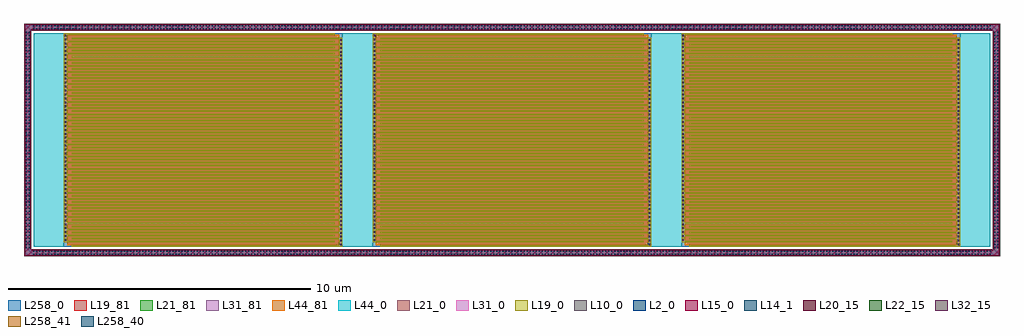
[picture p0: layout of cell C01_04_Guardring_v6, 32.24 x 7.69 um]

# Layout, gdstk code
from math import pi, radians
import gdstk
lib = gdstk.Library(unit=1e-6, precision=1e-09)
def R(c, l, rs):  # rectangles x0, y0, x1, y1
    for r in rs: c.add(gdstk.rectangle(r[:2], r[2:], *l))
def A(c, l, x, y, w, h, nx, ny, dx, dy):  # array of equal rectangles
    R(c, l, [(x+i*dx, y+j*dy, x+i*dx+w, y+j*dy+h) for i in range(nx) for j in range(ny)])
L2_0 = (2, 0)
L10_0 = (10, 0)
L14_1 = (14, 1)
L15_0 = (15, 0)
L19_0 = (19, 0)
L19_81 = (19, 81)
L20_15 = (20, 15)
L21_0 = (21, 0)
L21_81 = (21, 81)
L22_15 = (22, 15)
L31_0 = (31, 0)
L31_81 = (31, 81)
L32_15 = (32, 15)
L44_0 = (44, 0)
L44_81 = (44, 81)
L258_0 = (258, 0)
L258_40 = (258, 40)
L258_41 = (258, 41)

c01_04_guardring_v6_srf_ = lib.new_cell('C01_04_Guardring_v6:SRF_Array:SRF_HDVNCAP:SRF_FingerArray:SRF_FingerPair')
R(c01_04_guardring_v6_srf_, L19_0, [(0.1,-0.15,0.15,8.7), (0,0,0.05,8.85)])
R(c01_04_guardring_v6_srf_, L21_0, [(0.1,-0.15,0.15,8.7), (0,0,0.05,8.85)])
R(c01_04_guardring_v6_srf_, L31_0, [(0.1,-0.15,0.15,8.7), (0,0,0.05,8.85)])
R(c01_04_guardring_v6_srf_, L44_0, [(0.1,-0.15,0.15,8.7), (0,0,0.05,8.85)])

c_c01_04_guardring_v6_srf_ = lib.new_cell('C01_04_Guardring_v6:SRF_Array:SRF_HDVNCAP:SRF_FingerArray')
c_c01_04_guardring_v6_srf_.add(gdstk.Reference(c01_04_guardring_v6_srf_, (0,0)))
c_c01_04_guardring_v6_srf_.add(gdstk.Reference(c01_04_guardring_v6_srf_, (0.2,0)))
c_c01_04_guardring_v6_srf_.add(gdstk.Reference(c01_04_guardring_v6_srf_, (0.4,0)))
c_c01_04_guardring_v6_srf_.add(gdstk.Reference(c01_04_guardring_v6_srf_, (0.6,0)))
c_c01_04_guardring_v6_srf_.add(gdstk.Reference(c01_04_guardring_v6_srf_, (0.8,0)))
c_c01_04_guardring_v6_srf_.add(gdstk.Reference(c01_04_guardring_v6_srf_, (1,0)))
c_c01_04_guardring_v6_srf_.add(gdstk.Reference(c01_04_guardring_v6_srf_, (1.2,0)))
c_c01_04_guardring_v6_srf_.add(gdstk.Reference(c01_04_guardring_v6_srf_, (1.4,0)))
c_c01_04_guardring_v6_srf_.add(gdstk.Reference(c01_04_guardring_v6_srf_, (1.6,0)))
c_c01_04_guardring_v6_srf_.add(gdstk.Reference(c01_04_guardring_v6_srf_, (1.8,0)))
c_c01_04_guardring_v6_srf_.add(gdstk.Reference(c01_04_guardring_v6_srf_, (2,0)))
c_c01_04_guardring_v6_srf_.add(gdstk.Reference(c01_04_guardring_v6_srf_, (2.2,0)))
c_c01_04_guardring_v6_srf_.add(gdstk.Reference(c01_04_guardring_v6_srf_, (2.4,0)))
c_c01_04_guardring_v6_srf_.add(gdstk.Reference(c01_04_guardring_v6_srf_, (2.6,0)))
c_c01_04_guardring_v6_srf_.add(gdstk.Reference(c01_04_guardring_v6_srf_, (2.8,0)))
c_c01_04_guardring_v6_srf_.add(gdstk.Reference(c01_04_guardring_v6_srf_, (3,0)))
c_c01_04_guardring_v6_srf_.add(gdstk.Reference(c01_04_guardring_v6_srf_, (3.2,0)))
c_c01_04_guardring_v6_srf_.add(gdstk.Reference(c01_04_guardring_v6_srf_, (3.4,0)))
c_c01_04_guardring_v6_srf_.add(gdstk.Reference(c01_04_guardring_v6_srf_, (3.6,0)))
c_c01_04_guardring_v6_srf_.add(gdstk.Reference(c01_04_guardring_v6_srf_, (3.8,0)))
c_c01_04_guardring_v6_srf_.add(gdstk.Reference(c01_04_guardring_v6_srf_, (4,0)))
c_c01_04_guardring_v6_srf_.add(gdstk.Reference(c01_04_guardring_v6_srf_, (4.2,0)))
c_c01_04_guardring_v6_srf_.add(gdstk.Reference(c01_04_guardring_v6_srf_, (4.4,0)))
c_c01_04_guardring_v6_srf_.add(gdstk.Reference(c01_04_guardring_v6_srf_, (4.6,0)))
c_c01_04_guardring_v6_srf_.add(gdstk.Reference(c01_04_guardring_v6_srf_, (4.8,0)))
c_c01_04_guardring_v6_srf_.add(gdstk.Reference(c01_04_guardring_v6_srf_, (5,0)))
c_c01_04_guardring_v6_srf_.add(gdstk.Reference(c01_04_guardring_v6_srf_, (5.2,0)))
c_c01_04_guardring_v6_srf_.add(gdstk.Reference(c01_04_guardring_v6_srf_, (5.4,0)))
c_c01_04_guardring_v6_srf_.add(gdstk.Reference(c01_04_guardring_v6_srf_, (5.6,0)))
c_c01_04_guardring_v6_srf_.add(gdstk.Reference(c01_04_guardring_v6_srf_, (5.8,0)))
c_c01_04_guardring_v6_srf_.add(gdstk.Reference(c01_04_guardring_v6_srf_, (6,0)))
c_c01_04_guardring_v6_srf_.add(gdstk.Reference(c01_04_guardring_v6_srf_, (6.2,0)))
c_c01_04_guardring_v6_srf_.add(gdstk.Reference(c01_04_guardring_v6_srf_, (6.4,0)))
c_c01_04_guardring_v6_srf_.add(gdstk.Reference(c01_04_guardring_v6_srf_, (6.6,0)))

c_c01_04_guardring_v6_srf__ = lib.new_cell('C01_04_Guardring_v6:SRF_Array:SRF_HDVNCAP:SRF_Via0_PortA_Hrz:SRF_ViaM3M4')
R(c_c01_04_guardring_v6_srf__, L19_0, [(-0.032,0,6.842,0.05)])
A(c_c01_04_guardring_v6_srf__, L20_15, 0, 0, 0.05, 0.05, 53, 1, 0.13, 0)
R(c_c01_04_guardring_v6_srf__, L21_0, [(-0.032,0,6.842,0.05)])

c_c01_04_guardring_v6_srf___ = lib.new_cell('C01_04_Guardring_v6:SRF_Array:SRF_HDVNCAP:SRF_Via0_PortA_Hrz')
c_c01_04_guardring_v6_srf___.add(gdstk.Reference(c_c01_04_guardring_v6_srf__, (-3.405,-0.025)))

c_c01_04_guardring_v6_srf____ = lib.new_cell('C01_04_Guardring_v6:SRF_Array:SRF_HDVNCAP:SRF_Via1_PortA_Hrz:SRF_ViaM4M5')
R(c_c01_04_guardring_v6_srf____, L21_0, [(-0.032,0,6.842,0.05)])
A(c_c01_04_guardring_v6_srf____, L22_15, 0, 0, 0.05, 0.05, 53, 1, 0.13, 0)
R(c_c01_04_guardring_v6_srf____, L31_0, [(-0.032,0,6.842,0.05)])

c_c01_04_guardring_v6_srf_____ = lib.new_cell('C01_04_Guardring_v6:SRF_Array:SRF_HDVNCAP:SRF_Via1_PortA_Hrz')
c_c01_04_guardring_v6_srf_____.add(gdstk.Reference(c_c01_04_guardring_v6_srf____, (-3.405,-0.025)))

c_c01_04_guardring_v6_srf______ = lib.new_cell('C01_04_Guardring_v6:SRF_Array:SRF_HDVNCAP:SRF_Via2_PortA_Hrz:SRF_ViaM5M6')
R(c_c01_04_guardring_v6_srf______, L31_0, [(-0.032,0,6.842,0.05)])
A(c_c01_04_guardring_v6_srf______, L32_15, 0, 0, 0.05, 0.05, 53, 1, 0.13, 0)
R(c_c01_04_guardring_v6_srf______, L44_0, [(-0.032,0,6.842,0.05)])

c_c01_04_guardring_v6_srf_______ = lib.new_cell('C01_04_Guardring_v6:SRF_Array:SRF_HDVNCAP:SRF_Via2_PortA_Hrz')
c_c01_04_guardring_v6_srf_______.add(gdstk.Reference(c_c01_04_guardring_v6_srf______, (-3.405,-0.025)))

c_c01_04_guardring_v6_srf________ = lib.new_cell('C01_04_Guardring_v6:SRF_Array:SRF_HDVNCAP:SRF_Via0_PortB_Hrz:SRF_ViaM3M4')
R(c_c01_04_guardring_v6_srf________, L19_0, [(-0.032,0,6.842,0.05)])
A(c_c01_04_guardring_v6_srf________, L20_15, 0, 0, 0.05, 0.05, 53, 1, 0.13, 0)
R(c_c01_04_guardring_v6_srf________, L21_0, [(-0.032,0,6.842,0.05)])

c_c01_04_guardring_v6_srf_________ = lib.new_cell('C01_04_Guardring_v6:SRF_Array:SRF_HDVNCAP:SRF_Via0_PortB_Hrz')
c_c01_04_guardring_v6_srf_________.add(gdstk.Reference(c_c01_04_guardring_v6_srf________, (-3.405,-0.025)))

c_c01_04_guardring_v6_srf__________ = lib.new_cell('C01_04_Guardring_v6:SRF_Array:SRF_HDVNCAP:SRF_Via1_PortB_Hrz:SRF_ViaM4M5')
R(c_c01_04_guardring_v6_srf__________, L21_0, [(-0.032,0,6.842,0.05)])
A(c_c01_04_guardring_v6_srf__________, L22_15, 0, 0, 0.05, 0.05, 53, 1, 0.13, 0)
R(c_c01_04_guardring_v6_srf__________, L31_0, [(-0.032,0,6.842,0.05)])

c_c01_04_guardring_v6_srf___________ = lib.new_cell('C01_04_Guardring_v6:SRF_Array:SRF_HDVNCAP:SRF_Via1_PortB_Hrz')
c_c01_04_guardring_v6_srf___________.add(gdstk.Reference(c_c01_04_guardring_v6_srf__________, (-3.405,-0.025)))

c_c01_04_guardring_v6_srf____________ = lib.new_cell('C01_04_Guardring_v6:SRF_Array:SRF_HDVNCAP:SRF_Via2_PortB_Hrz:SRF_ViaM5M6')
R(c_c01_04_guardring_v6_srf____________, L31_0, [(-0.032,0,6.842,0.05)])
A(c_c01_04_guardring_v6_srf____________, L32_15, 0, 0, 0.05, 0.05, 53, 1, 0.13, 0)
R(c_c01_04_guardring_v6_srf____________, L44_0, [(-0.032,0,6.842,0.05)])

c_c01_04_guardring_v6_srf_____________ = lib.new_cell('C01_04_Guardring_v6:SRF_Array:SRF_HDVNCAP:SRF_Via2_PortB_Hrz')
c_c01_04_guardring_v6_srf_____________.add(gdstk.Reference(c_c01_04_guardring_v6_srf____________, (-3.405,-0.025)))

c_c01_04_guardring_v6_srf______________ = lib.new_cell('C01_04_Guardring_v6:SRF_Array:SRF_HDVNCAP')
R(c_c01_04_guardring_v6_srf______________, L19_0, [(-0.15,-0.25,6.75,-0.15), (-0.15,-0.25,-0.1,8.7), (6.85,0,6.9,8.95), (0,8.85,6.9,8.95)])
R(c_c01_04_guardring_v6_srf______________, L19_81, [(-0.1,-0.15,6.85,8.85)])
R(c_c01_04_guardring_v6_srf______________, L21_0, [(-0.15,-0.25,6.75,-0.15), (-0.15,-0.25,-0.1,8.7), (6.85,0,6.9,8.95), (0,8.85,6.9,8.95)])
R(c_c01_04_guardring_v6_srf______________, L21_81, [(-0.1,-0.15,6.85,8.85)])
R(c_c01_04_guardring_v6_srf______________, L31_0, [(-0.15,-0.25,6.75,-0.15), (-0.15,-0.25,-0.1,8.7), (6.85,0,6.9,8.95), (0,8.85,6.9,8.95)])
R(c_c01_04_guardring_v6_srf______________, L31_81, [(-0.1,-0.15,6.85,8.85)])
R(c_c01_04_guardring_v6_srf______________, L44_0, [(-0.15,-0.25,6.75,-0.15), (-0.15,-0.25,-0.1,8.7), (6.85,0,6.9,8.95), (0,8.85,6.9,8.95)])
R(c_c01_04_guardring_v6_srf______________, L44_81, [(-0.1,-0.15,6.85,8.85)])
R(c_c01_04_guardring_v6_srf______________, L258_0, [(-0.15,-0.25,6.9,8.95)])
A(c_c01_04_guardring_v6_srf______________, L258_40, -0.09, -0.15, 0.01, 0.01, 3, 1, 0.02, 0)
A(c_c01_04_guardring_v6_srf______________, L258_41, 6.77, 8.84, 0.01, 0.01, 4, 1, 0.02, 0)
c_c01_04_guardring_v6_srf______________.add(gdstk.Reference(c_c01_04_guardring_v6_srf_, (0,0)))
c_c01_04_guardring_v6_srf______________.add(gdstk.Reference(c_c01_04_guardring_v6_srf___, (3.45,8.9)))
c_c01_04_guardring_v6_srf______________.add(gdstk.Reference(c_c01_04_guardring_v6_srf_____, (3.45,8.9)))
c_c01_04_guardring_v6_srf______________.add(gdstk.Reference(c_c01_04_guardring_v6_srf_______, (3.45,8.9)))
c_c01_04_guardring_v6_srf______________.add(gdstk.Reference(c_c01_04_guardring_v6_srf_________, (3.3,-0.2)))
c_c01_04_guardring_v6_srf______________.add(gdstk.Reference(c_c01_04_guardring_v6_srf___________, (3.3,-0.2)))
c_c01_04_guardring_v6_srf______________.add(gdstk.Reference(c_c01_04_guardring_v6_srf_____________, (3.3,-0.2)))

c_c01_04_guardring_v6_srf_______________ = lib.new_cell('C01_04_Guardring_v6:SRF_Array')
A(c_c01_04_guardring_v6_srf_______________, L44_0, 0, 0, 1, 7.05, 4, 1, 10.2, 0)
c_c01_04_guardring_v6_srf_______________.add(gdstk.Reference(c_c01_04_guardring_v6_srf______________, (9.95,0.15), rotation=pi/2))
c_c01_04_guardring_v6_srf_______________.add(gdstk.Reference(c_c01_04_guardring_v6_srf______________, (20.15,0.15), rotation=pi/2))
c_c01_04_guardring_v6_srf_______________.add(gdstk.Reference(c_c01_04_guardring_v6_srf______________, (30.35,0.15), rotation=pi/2))

c01_04_guardring_v6__pbo = lib.new_cell('C01_04_Guardring_v6:_Pbodyring:SRF_PbodyTop:SRF_PbodyContactPhyLen')
R(c01_04_guardring_v6__pbo, L2_0, [(-0.08,-0.13,31.72,0.07)])
R(c01_04_guardring_v6__pbo, L10_0, [(-0.101,-0.151,31.741,0.091)])
A(c01_04_guardring_v6__pbo, L14_1, 0, -0.1, 0.04, 0.04, 317, 2, 0.1, 0.1)
R(c01_04_guardring_v6__pbo, L15_0, [(-0.08,-0.13,31.72,0.07)])

c_c01_04_guardring_v6__pbo = lib.new_cell('C01_04_Guardring_v6:_Pbodyring:SRF_PbodyTop')
c_c01_04_guardring_v6__pbo.add(gdstk.Reference(c01_04_guardring_v6__pbo, (0,0)))

c_c01_04_guardring_v6__pbo_ = lib.new_cell('C01_04_Guardring_v6:_Pbodyring:SRF_PbodyBottom:SRF_PbodyContactPhyLen')
R(c_c01_04_guardring_v6__pbo_, L2_0, [(-0.08,-0.13,31.72,0.07)])
R(c_c01_04_guardring_v6__pbo_, L10_0, [(-0.101,-0.151,31.741,0.091)])
A(c_c01_04_guardring_v6__pbo_, L14_1, 0, -0.1, 0.04, 0.04, 317, 2, 0.1, 0.1)
R(c_c01_04_guardring_v6__pbo_, L15_0, [(-0.08,-0.13,31.72,0.07)])

c_c01_04_guardring_v6__pbo__ = lib.new_cell('C01_04_Guardring_v6:_Pbodyring:SRF_PbodyBottom')
c_c01_04_guardring_v6__pbo__.add(gdstk.Reference(c_c01_04_guardring_v6__pbo_, (0,0)))

c_c01_04_guardring_v6__pbo___ = lib.new_cell('C01_04_Guardring_v6:_Pbodyring:SRF_PbodyLeft:SRF_PbodyContactPhyLen')
R(c_c01_04_guardring_v6__pbo___, L2_0, [(-0.03,-7.155,0.17,0.095)])
R(c_c01_04_guardring_v6__pbo___, L10_0, [(-0.051,-7.176,0.191,0.116)])
A(c_c01_04_guardring_v6__pbo___, L14_1, 0, -7.1, 0.04, 0.04, 1, 72, 0, 0.1)
A(c_c01_04_guardring_v6__pbo___, L14_1, 0.1, -7.1, 0.04, 0.04, 1, 72, 0, 0.1)
R(c_c01_04_guardring_v6__pbo___, L15_0, [(-0.03,-7.155,0.17,0.095)])

c_c01_04_guardring_v6__pbo____ = lib.new_cell('C01_04_Guardring_v6:_Pbodyring:SRF_PbodyLeft')
c_c01_04_guardring_v6__pbo____.add(gdstk.Reference(c_c01_04_guardring_v6__pbo___, (0,0)))

c_c01_04_guardring_v6__pbo_____ = lib.new_cell('C01_04_Guardring_v6:_Pbodyring:SRF_PbodyRight:SRF_PbodyContactPhyLen')
R(c_c01_04_guardring_v6__pbo_____, L2_0, [(-0.03,-7.155,0.17,0.095)])
R(c_c01_04_guardring_v6__pbo_____, L10_0, [(-0.051,-7.176,0.191,0.116)])
A(c_c01_04_guardring_v6__pbo_____, L14_1, 0, -7.1, 0.04, 0.04, 1, 72, 0, 0.1)
A(c_c01_04_guardring_v6__pbo_____, L14_1, 0.1, -7.1, 0.04, 0.04, 1, 72, 0, 0.1)
R(c_c01_04_guardring_v6__pbo_____, L15_0, [(-0.03,-7.155,0.17,0.095)])

c_c01_04_guardring_v6__pbo______ = lib.new_cell('C01_04_Guardring_v6:_Pbodyring:SRF_PbodyRight')
c_c01_04_guardring_v6__pbo______.add(gdstk.Reference(c_c01_04_guardring_v6__pbo_____, (0,0)))

c_c01_04_guardring_v6__pbo_______ = lib.new_cell('C01_04_Guardring_v6:_Pbodyring')
R(c_c01_04_guardring_v6__pbo_______, L2_0, [(-0.28,-7.58,31.92,-7.38), (-0.28,-7.58,-0.08,0.07), (31.72,-7.58,31.92,0.07), (-0.28,-0.13,31.92,0.07)])
R(c_c01_04_guardring_v6__pbo_______, L10_0, [(-0.301,-7.601,31.941,-7.359), (-0.301,-7.601,-0.059,0.091), (31.699,-7.601,31.941,0.091), (-0.301,-0.151,31.941,0.091)])
R(c_c01_04_guardring_v6__pbo_______, L15_0, [(-0.28,-7.58,31.92,-7.38), (-0.28,-7.58,-0.08,0.07), (31.72,-7.58,31.92,0.07), (-0.28,-0.13,31.92,0.07)])
c_c01_04_guardring_v6__pbo_______.add(gdstk.Reference(c_c01_04_guardring_v6__pbo, (0,0)))
c_c01_04_guardring_v6__pbo_______.add(gdstk.Reference(c_c01_04_guardring_v6__pbo__, (0,-7.45)))
c_c01_04_guardring_v6__pbo_______.add(gdstk.Reference(c_c01_04_guardring_v6__pbo____, (-0.25,-0.225)))
c_c01_04_guardring_v6__pbo_______.add(gdstk.Reference(c_c01_04_guardring_v6__pbo______, (31.75,-0.225)))

c01_04_guardring_v6 = lib.new_cell('C01_04_Guardring_v6')
c01_04_guardring_v6.add(gdstk.Reference(c_c01_04_guardring_v6_srf_______________, (0,0)))
c01_04_guardring_v6.add(gdstk.Reference(c_c01_04_guardring_v6__pbo_______, (-0.02,7.28)))

lib.write_gds('C01_04_Guardring_v6.gds')
